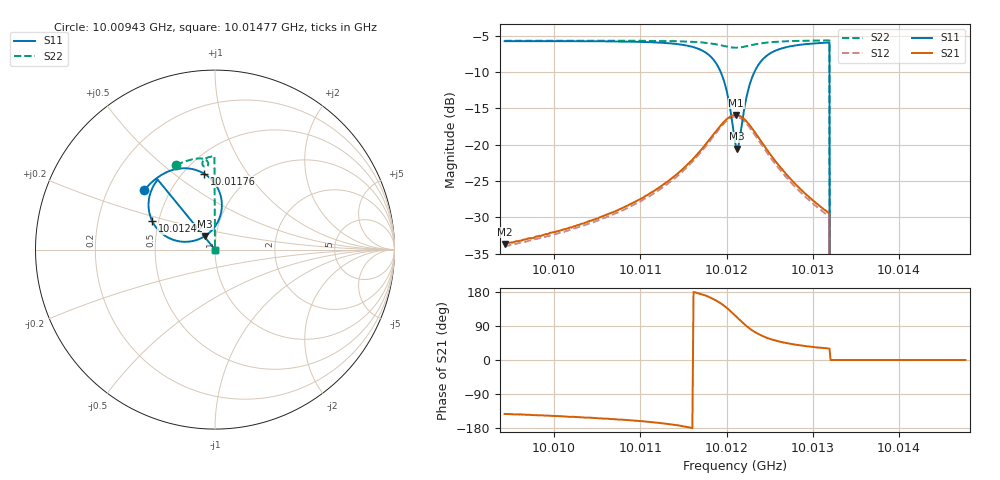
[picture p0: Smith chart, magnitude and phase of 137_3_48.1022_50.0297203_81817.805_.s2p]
#  HZ  S  RI  R  50.00
! Rohde & Schwarz Vector Network Analyzer
! Rohde-Schwarz,ZNB20-2Port,1311601062101988,3.16
! Created: UTC 12/23/2023, 3:48:23 AM
! freq[Hz]  re:S11  im:S11  re:S21  im:S21  re:S12  im:S12  re:S22  im:S22
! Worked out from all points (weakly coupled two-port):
!   401 points, 10.00943 GHz to 10.01477 GHz, reference 50 ohm
!   highest |S21| = -15.91 dB at 10.01211 GHz (marker M1); lowest = -33.6 dB at 10.00943 GHz (marker M2)
!   lowest |S11| = -20.6 dB at 10.01213 GHz (marker M3), VSWR 1.21, Z = 44.3 + j6.8 ohm
!   |S11| at or under -10 dB: 10.01193 GHz to 10.01232 GHz (391.6 kHz wide, 0.00391 % of centre); 10.01319 GHz to end of sweep
!   |S22| runs from - to -5.7 dB; largest |S21 - S12| = 0.0079
!   S11 on the Smith chart (normalised r, x): 10.00943 GHz: 0.36, +0.32; 10.01176 GHz: 0.63, +0.65; 10.01242 GHz: 0.46, +0.17; 10.01477 GHz: 1.00, +0.00
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1.0009429e10  -0.3946 0.3305  -0.0164 -0.0127  -0.0152 -0.013  -0.2157 0.4707
1.0010323e10  -0.3395 0.3865  -0.0251 -0.0136  -0.0234 -0.0144  -0.1604 0.4932
1.0011218e10  -0.2386 0.4431  -0.0492 -0.0123  -0.0464 -0.0144  -0.0979 0.5074
1.0011525e10  -0.164 0.4533  -0.0706 -0.00476  -0.0678 -0.00838  -0.072 0.5072
1.0011765e10  -0.061 0.4232  -0.0997 0.0185  -0.0973 0.0129  -0.0493 0.4989
1.0011885e10  0.00536 0.3589  -0.1144 0.0504  -0.1139 0.0428  -0.0395 0.4876
1.0011965e10  0.036 0.2786  -0.1158 0.0828  -0.1164 0.0755  -0.0376 0.4766
1.0012018e10  0.0346 0.2084  -0.1071 0.1085  -0.1091 0.1012  -0.0399 0.4689
1.0012098e10  -0.0217 0.1028  -0.0738 0.142  -0.0776 0.1354  -0.0503 0.4615
1.0012112e10  -0.0379 0.0884  -0.0663 0.1457  -0.0701 0.1391  -0.0525 0.4612
1.0012125e10  -0.0549 0.076  -0.0587 0.1486  -0.0629 0.1422  -0.0546 0.4613
1.0012152e10  -0.0925 0.0569  -0.0431 0.1517  -0.0472 0.1457  -0.0589 0.462
1.0012218e10  -0.1895 0.0447  -0.00525 0.1471  -0.00949 0.1419  -0.0675 0.4684
1.0012272e10  -0.255 0.0638  0.0182 0.134  0.0125 0.1293  -0.0705 0.4761
1.0012339e10  -0.3123 0.1053  0.036 0.1138  0.0308 0.1101  -0.0701 0.4855
1.0012419e10  -0.3505 0.1602  0.0458 0.0909  0.0404 0.0886  -0.0659 0.4949
1.0012659e10  -0.3682 0.2801  0.0456 0.0476  0.0414 0.0474  -0.0459 0.5108
1.0012993e10  -0.3388 0.3616  0.0343 0.0238  0.0317 0.0241  -0.0183 0.5186
1.0013166e10  -0.3217 0.3866  0.0297 0.0175  0.0272 0.0182  -0.00523 0.5204
1.0013233e10  0 0  0 0  0 0  0 0
1.0013887e10  0 0  0 0  0 0  0 0
1.0014767e10  0 0  0 0  0 0  0 0
